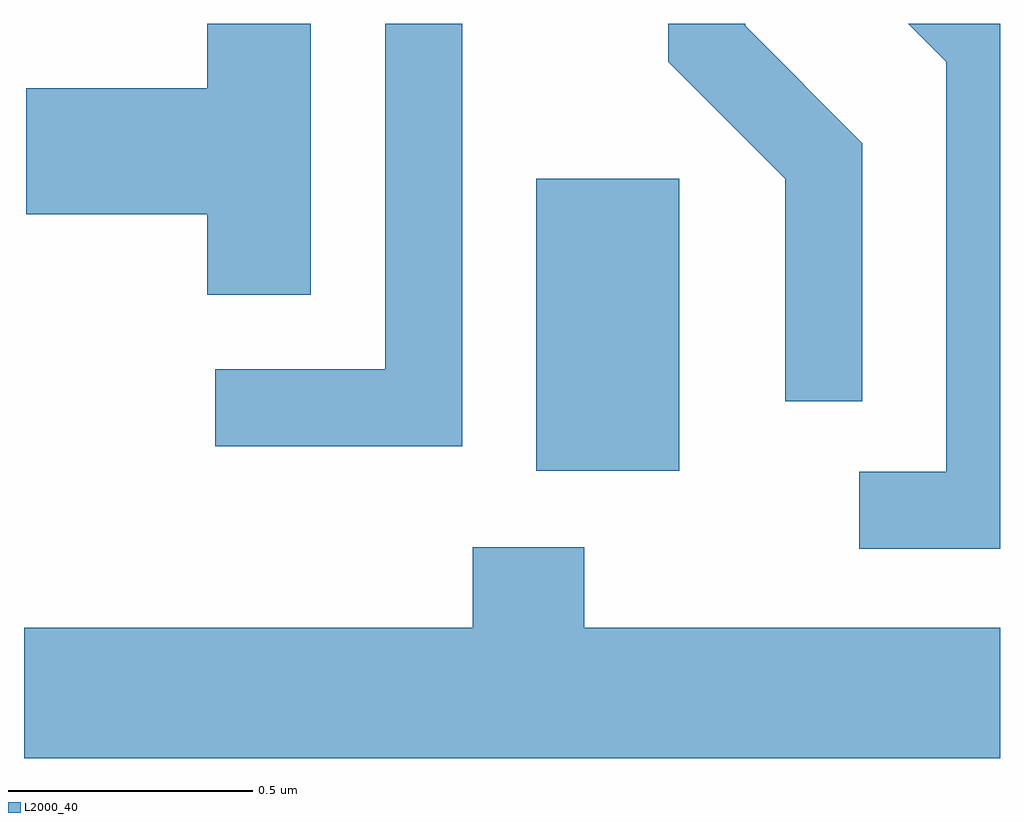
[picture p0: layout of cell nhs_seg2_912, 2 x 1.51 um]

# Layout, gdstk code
import gdstk
lib = gdstk.Library(unit=1e-6, precision=1e-09)
def R(c, l, rs):  # rectangles x0, y0, x1, y1
    for r in rs: c.add(gdstk.rectangle(r[:2], r[2:], *l))
def P(c, l, *ps):  # polygons
    for p in ps: c.add(gdstk.Polygon(p, *l))
L2000_40 = (2000, 40)

nhs_seg2_912 = lib.new_cell('nhs_seg2_912')
R(nhs_seg2_912, L2000_40, [(192.661,1068.886,192.954,1069.484)])
P(nhs_seg2_912, L2000_40, [(192.199,1069.802),(191.986,1069.802),(191.986,1069.669),(191.616,1069.669),(191.616,1069.411),(191.986,1069.411),(191.986,1069.246),(192.199,1069.246)],
  [(193.611,1069.802),(193.423,1069.802),(193.501,1069.724),(193.501,1068.884),(193.323,1068.884),(193.323,1068.726),(193.611,1068.726)],
  [(192.509,1069.802),(192.351,1069.802),(192.351,1069.094),(192.003,1069.094),(192.003,1068.936),(192.509,1068.936)],
  [(193.329,1069.557),(193.089,1069.797),(193.089,1069.802),(192.931,1069.802),(192.931,1069.724),(193.171,1069.484),(193.171,1069.028),(193.329,1069.028)],
  [(193.611,1068.564),(192.759,1068.564),(192.759,1068.729),(192.531,1068.729),(192.531,1068.564),(191.611,1068.564),(191.611,1068.296),(193.611,1068.296)])

lib.write_gds('nhs_seg2_912.gds')
